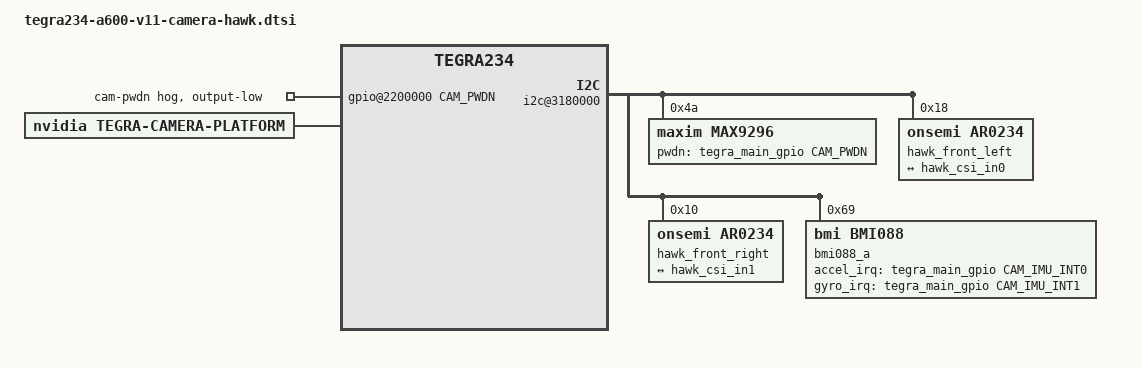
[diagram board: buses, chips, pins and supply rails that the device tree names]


#define	CAM_PWDN TEGRA234_MAIN_GPIO(P, 0) // CAN0_MCLK
#define CAM_FSYNC TEGRA234_MAIN_GPIO(P, 1) // CAM1_MCLK
#define CAM_IMU_INT0 TEGRA234_MAIN_GPIO(H, 6) // CAM0_PWDN
#define CAM_IMU_INT1 TEGRA234_MAIN_GPIO(AC, 0) // CAM1_PWDN


/ {

	gpio@2200000 {
		camera-imu-input {
			gpios = <CAM_IMU_INT0 0 CAM_IMU_INT1 0>;
			label = "cam-imu-int0", "cam-imu-int1";
		};
		camera-fsync-input {
			gpios = <CAM_FSYNC 0>;
			label = "cam-fsync";
		};
		camera-pwdn-output {
			gpio-hog;
			output-low;
			gpios = <CAM_PWDN 0>;
			label = "cam-pwdn";
		};
	};

	tegra-capture-vi {
		num-channels = <2>;
		ports {
			#address-cells = <1>;
			#size-cells = <0>;
			port@0 {
				reg = <0>;
				hawk_vi_in0: endpoint {
					vc-id = <0>;
					port-index = <0>;
					bus-width = <4>;
					remote-endpoint = <&hawk_csi_out0>;
				};
			};
			port@1 {
				reg = <1>;
				hawk_vi_in1: endpoint {
					vc-id = <1>;
					port-index = <0>;
					bus-width = <4>;
					remote-endpoint = <&hawk_csi_out1>;
				};
			};
		};
	};

	host1x@13e00000 {
		nvcsi@15a00000 {
			num-channels = <2>;
			#address-cells = <1>;
			#size-cells = <0>;
			channel@0 {
				reg = <0>;
				ports {
					#address-cells = <1>;
					#size-cells = <0>;
					port@0 {
						reg = <0>;
						hawk_csi_in0: endpoint@0 {
							port-index = <0>;
							bus-width = <4>;
							remote-endpoint = <&hawk_out0>;
						};
					};
					port@1 {
						reg = <1>;
						hawk_csi_out0: endpoint@1 {
							remote-endpoint = <&hawk_vi_in0>;
						};
					};
				};
			};
			channel@1 {
				reg = <1>;
				ports {
					#address-cells = <1>;
					#size-cells = <0>;
					port@0 {
						reg = <0>;
						hawk_csi_in1: endpoint@2 {
							port-index = <0>;
							bus-width = <4>;
							remote-endpoint = <&hawk_out1>;
						};
					};
					port@1 {
						reg = <1>;
						hawk_csi_out1: endpoint@3 {
							remote-endpoint = <&hawk_vi_in1>;
						};
					};
				};
			};
		};
	};

	i2c@3180000 {
		max9296@4a {
			compatible = "maxim,max9296";
			reg = <0x4a>;
			channel = "a";
			pwdn-gpios = <&tegra_main_gpio CAM_PWDN GPIO_ACTIVE_HIGH>;
		};

		hawk_front_left: ar0234_a@18 {
			compatible = "onsemi,ar0234";

			reg = <0x18>;

			physical_w = "15.0";
			physical_h = "12.5";

			sensor_model ="ar0234";
			sync_sensor = "HAWK1";
			sync_sensor_index = <1>;
			supports-alt-exp = "true";

			channel = "a";
			has-eeprom;

			post_crop_frame_drop = "0";

			use_sensor_mode_id = "true";

			mode0 { /* mode 1920x1200_10Bit */
				mclk_khz = "25000";
				num_lanes = "4";
				lane_polarity = "6";
				tegra_sinterface = "serial_a";
				phy_mode = "DPHY";
				vc_id = "0";
				discontinuous_clk = "no";
				dpcm_enable = "false";
				cil_settletime = "0";
				dynamic_pixel_bit_depth = "10";
				csi_pixel_bit_depth = "10";
				mode_type = "bayer";
				pixel_phase = "grbg";

				active_w = "1920";
				active_h = "1200";
				readout_orientation = "0";
				line_length = "2448";
				inherent_gain = "1";
				pix_clk_hz = "360000000";
				serdes_pix_clk_hz = "600000000";

				gain_factor = "100";
				min_gain_val = "100"; /* dB */
				max_gain_val = "1600"; /* dB */
				step_gain_val = "1"; /* 0.1 */
				default_gain = "100";
				min_hdr_ratio = "1";
				max_hdr_ratio = "1";
				framerate_factor = "1000000";
				min_framerate = "30000000";
				max_framerate = "90000000";
				step_framerate = "30000000";
				default_framerate = "60000000";
				exposure_factor = "1000000";
				min_exp_time = "14"; /* us, 2 lines */
				max_exp_time = "33334";
				step_exp_time = "1";
				default_exp_time = "8333"; /* us */
				embedded_metadata_height = "0";
			};

			mode1 { /* mode 960x600_10Bit */
				mclk_khz = "25000";
				num_lanes = "4";
				lane_polarity = "6";
				tegra_sinterface = "serial_a";
				phy_mode = "DPHY";
				vc_id = "0";
				discontinuous_clk = "no";
				dpcm_enable = "false";
				cil_settletime = "0";
				dynamic_pixel_bit_depth = "10";
				csi_pixel_bit_depth = "10";
				mode_type = "bayer";
				pixel_phase = "grbg";

				active_w = "960";
				active_h = "600";
				readout_orientation = "0";
				line_length = "2448";
				inherent_gain = "1";
				pix_clk_hz = "360000000";
				serdes_pix_clk_hz = "600000000";

				gain_factor = "100";
				min_gain_val = "100"; /* dB */
				max_gain_val = "1600"; /* dB */
				step_gain_val = "1"; /* 0.1 */
				default_gain = "100";
				min_hdr_ratio = "1";
				max_hdr_ratio = "1";
				framerate_factor = "1000000";
				min_framerate = "30000000";
				max_framerate = "120000000";
				step_framerate = "30000000";
				default_framerate = "60000000";
				exposure_factor = "1000000";
				min_exp_time = "14"; /* us, 2 lines */
				max_exp_time = "33334";
				step_exp_time = "1";
				default_exp_time = "8333"; /* us */
				embedded_metadata_height = "0";
			};

			ports {
				#address-cells = <1>;
				#size-cells = <0>;
				port@0 {
					reg = <0>;
					hawk_out0: endpoint {
						vc-id = <0>;
						port-index = <0>;
						bus-width = <4>;
						remote-endpoint = <&hawk_csi_in0>;
					};
				};
			};
		};

		hawk_front_right: ar0234_b@10 {
			compatible = "onsemi,ar0234";

			reg = <0x10>;

			physical_w = "15.0";
			physical_h = "12.5";

			sensor_model ="ar0234";
			sync_sensor = "HAWK1";
			sync_sensor_index = <2>;
			supports-alt-exp = "true";

			channel = "n";
			// has-eeprom;

			post_crop_frame_drop = "0";

			use_sensor_mode_id = "true";

			mode0 { /* mode 1920x1200_10Bit */
				mclk_khz = "25000";
				num_lanes = "4";
				lane_polarity = "6";
				tegra_sinterface = "serial_a";
				phy_mode = "DPHY";
				vc_id = "1";
				discontinuous_clk = "no";
				dpcm_enable = "false";
				cil_settletime = "0";
				dynamic_pixel_bit_depth = "10";
				csi_pixel_bit_depth = "10";
				mode_type = "bayer";
				pixel_phase = "grbg";

				active_w = "1920";
				active_h = "1200";
				readout_orientation = "0";
				line_length = "2448";
				inherent_gain = "1";
				pix_clk_hz = "360000000";
				serdes_pix_clk_hz = "600000000";

				gain_factor = "100";
				min_gain_val = "100"; /* dB */
				max_gain_val = "1600"; /* dB */
				step_gain_val = "1"; /* 0.1 */
				default_gain = "100";
				min_hdr_ratio = "1";
				max_hdr_ratio = "1";
				framerate_factor = "1000000";
				min_framerate = "30000000";
				max_framerate = "90000000";
				step_framerate = "30000000";
				default_framerate = "60000000";
				exposure_factor = "1000000";
				min_exp_time = "14"; /* us, 2 lines */
				max_exp_time = "33334";
				step_exp_time = "1";
				default_exp_time = "8333"; /* us */
				embedded_metadata_height = "0";
			};

			mode1 { /* mode 960x600_10Bit */
				mclk_khz = "25000";
				num_lanes = "4";
				lane_polarity = "6";
				tegra_sinterface = "serial_a";
				phy_mode = "DPHY";
				vc_id = "1";
				discontinuous_clk = "no";
				dpcm_enable = "false";
				cil_settletime = "0";
				dynamic_pixel_bit_depth = "10";
				csi_pixel_bit_depth = "10";
				mode_type = "bayer";
				pixel_phase = "grbg";

				active_w = "960";
				active_h = "600";
				readout_orientation = "0";
				line_length = "2448";
				inherent_gain = "1";
				pix_clk_hz = "360000000";
				serdes_pix_clk_hz = "600000000";

				gain_factor = "100";
				min_gain_val = "100"; /* dB */
				max_gain_val = "1600"; /* dB */
				step_gain_val = "1"; /* 0.1 */
				default_gain = "100";
				min_hdr_ratio = "1";
				max_hdr_ratio = "1";
				framerate_factor = "1000000";
				min_framerate = "30000000";
				max_framerate = "120000000";
				step_framerate = "30000000";
				default_framerate = "60000000";
				exposure_factor = "1000000";
				min_exp_time = "14"; /* us, 2 lines */
				max_exp_time = "33334";
				step_exp_time = "1";
				default_exp_time = "8333"; /* us */
				embedded_metadata_height = "0";
			};

			ports {
				#address-cells = <1>;
				#size-cells = <0>;
				port@0 {
					reg = <0>;
					hawk_out1: endpoint {
						vc-id = <1>;
						port-index = <0>;
						bus-width = <4>;
						remote-endpoint = <&hawk_csi_in1>;
					};
				};
			};
		};

		bmi088_a@69 {
			compatible = "bmi,bmi088";
			reg = <0x69>;
			accel_i2c_addr = <0x19>;
			accel_irq_gpio = <&tegra_main_gpio CAM_IMU_INT0 GPIO_ACTIVE_HIGH>;
			gyro_irq_gpio = <&tegra_main_gpio CAM_IMU_INT1 GPIO_ACTIVE_HIGH>;
			accel_matrix = [01 00 00 00 01 00 00 00 01];
			gyro_matrix = [01 00 00 00 01 00 00 00 01];
			gyro_reg_0x18 = <0x81>;
		};
    };

	tegra-camera-platform {
		compatible = "nvidia, tegra-camera-platform";
		num_csi_lanes = <4>;
		max_lane_speed = <20000000>;
		min_bits_per_pixel = <10>;
		vi_peak_byte_per_pixel = <2>;
		vi_bw_margin_pct = <25>;
		isp_peak_byte_per_pixel = <5>;
		isp_bw_margin_pct = <25>;

		modules {
			module0 {
				badge = "hawk_0_ar0234";
				position = "0";
				orientation = "1";
				drivernode0 {
					pcl_id = "v4l2_sensor";
					devname = "ar0234 2-0018";
					proc-device-tree = "/proc/device-tree/i2c@3180000/ar0234_a@18";
				};
			};
			module1 {
				badge = "hawk_1_ar0234";
				position = "1";
				orientation = "1";
				drivernode0 {
					pcl_id = "v4l2_sensor";
					devname = "ar0234 2-0010";
					proc-device-tree = "/proc/device-tree/i2c@3180000/ar0234_b@10";
				};
			};
		};
	};
}; 
 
